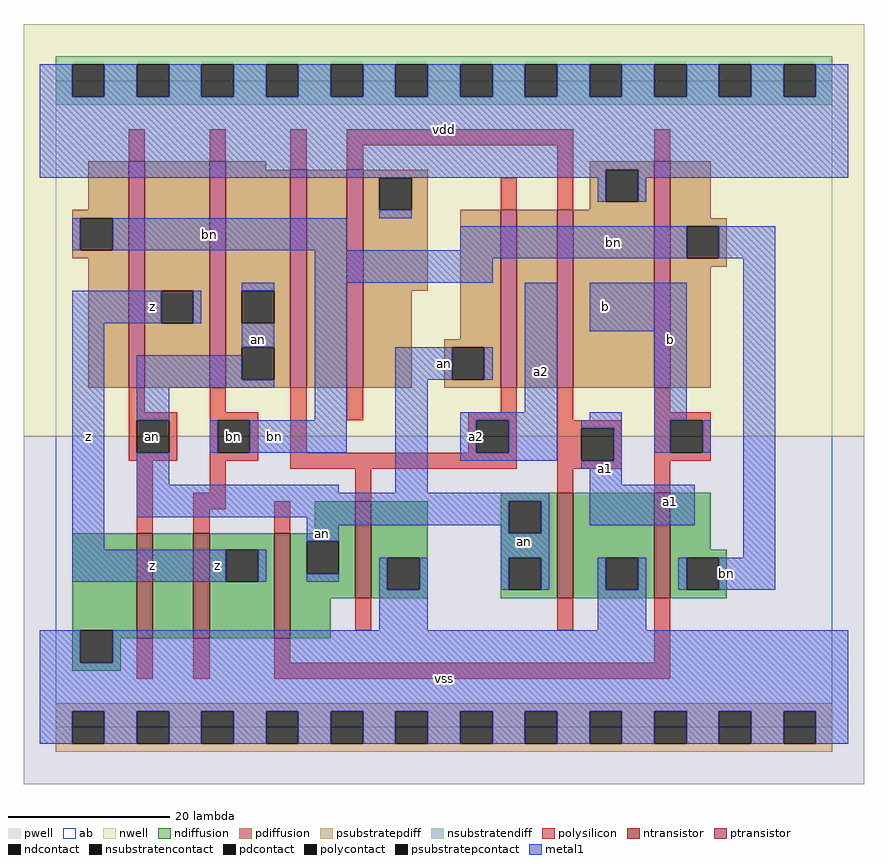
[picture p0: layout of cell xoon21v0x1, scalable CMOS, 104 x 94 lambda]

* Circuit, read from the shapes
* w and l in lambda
.subckt xoon21v0x1 a1 a2 an b bn vdd vss z
M1 n1 an vss vss nfet w=13 l=2
M2 z bn n1 vss nfet w=13 l=2
M3 an b z vss nfet w=13 l=2
M4 vss a2 an vss nfet w=12 l=2
M5 vss a1 an vss nfet w=13 l=2
M6 bn b vss vss nfet w=13 l=2
M7 z an bn vdd pfet w=28 l=2
M8 an bn z vdd pfet w=28 l=2
M9 n2 a2 an vdd pfet w=27 l=2
M10 vdd a1 n2 vdd pfet w=27 l=2
M11 n3 a2 an vdd pfet w=22 l=2
M12 vdd a1 n3 vdd pfet w=22 l=2
M13 bn b vdd vdd pfet w=28 l=2
.ends

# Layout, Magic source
magic
tech scmos
<< ab >>
rect 0 0 96 80
<< pwell >>
rect -4 -7 100 36
<< nwell >>
rect -4 36 100 87
<< polysilicon >>
rect 9 70 11 74
rect 19 70 21 74
rect 29 69 31 74
rect 36 72 64 74
rect 36 69 38 72
rect 55 64 57 68
rect 62 64 64 72
rect 74 70 76 74
rect 9 39 11 42
rect 19 39 21 42
rect 9 38 15 39
rect 9 34 10 38
rect 14 34 15 38
rect 9 33 15 34
rect 19 38 25 39
rect 19 34 20 38
rect 24 34 25 38
rect 19 33 25 34
rect 29 34 31 42
rect 36 38 38 42
rect 55 39 57 42
rect 51 38 57 39
rect 51 34 52 38
rect 56 34 57 38
rect 10 24 12 33
rect 19 29 21 33
rect 29 32 57 34
rect 62 38 64 42
rect 74 39 76 42
rect 74 38 81 39
rect 62 37 70 38
rect 62 33 65 37
rect 69 33 70 37
rect 62 32 70 33
rect 74 34 76 38
rect 80 34 81 38
rect 74 33 81 34
rect 17 27 21 29
rect 37 28 39 32
rect 62 29 64 32
rect 74 29 76 33
rect 17 24 19 27
rect 27 24 29 28
rect 37 12 39 16
rect 62 12 64 16
rect 10 6 12 11
rect 17 6 19 11
rect 27 8 29 11
rect 74 8 76 16
rect 27 6 76 8
<< ndiffusion >>
rect 55 28 62 29
rect 32 24 37 28
rect 2 12 10 24
rect 2 8 3 12
rect 7 11 10 12
rect 12 11 17 24
rect 19 22 27 24
rect 19 18 21 22
rect 25 18 27 22
rect 19 11 27 18
rect 29 23 37 24
rect 29 19 31 23
rect 35 19 37 23
rect 29 16 37 19
rect 39 21 46 28
rect 39 17 41 21
rect 45 17 46 21
rect 39 16 46 17
rect 55 24 56 28
rect 60 24 62 28
rect 55 21 62 24
rect 55 17 56 21
rect 60 17 62 21
rect 55 16 62 17
rect 64 21 74 29
rect 64 17 68 21
rect 72 17 74 21
rect 64 16 74 17
rect 76 22 81 29
rect 76 21 83 22
rect 76 17 78 21
rect 82 17 83 21
rect 76 16 83 17
rect 29 11 34 16
rect 7 8 8 11
rect 2 7 8 8
<< pdiffusion >>
rect 4 64 9 70
rect 2 63 9 64
rect 2 59 3 63
rect 7 59 9 63
rect 2 58 9 59
rect 4 42 9 58
rect 11 54 19 70
rect 11 50 13 54
rect 17 50 19 54
rect 11 42 19 50
rect 21 69 26 70
rect 21 54 29 69
rect 21 50 23 54
rect 27 50 29 54
rect 21 47 29 50
rect 21 43 23 47
rect 27 43 29 47
rect 21 42 29 43
rect 31 42 36 69
rect 38 68 46 69
rect 38 64 40 68
rect 44 64 46 68
rect 66 69 74 70
rect 66 65 68 69
rect 72 65 74 69
rect 66 64 74 65
rect 38 54 46 64
rect 38 42 44 54
rect 50 48 55 64
rect 48 47 55 48
rect 48 43 49 47
rect 53 43 55 47
rect 48 42 55 43
rect 57 42 62 64
rect 64 42 74 64
rect 76 63 81 70
rect 76 62 83 63
rect 76 58 78 62
rect 82 58 83 62
rect 76 57 83 58
rect 76 42 81 57
<< metal1 >>
rect -2 78 2 82
rect 6 78 10 82
rect 14 78 18 82
rect 22 78 26 82
rect 30 78 34 82
rect 38 78 42 82
rect 46 78 50 82
rect 54 78 58 82
rect 62 78 66 82
rect 70 78 74 82
rect 78 78 82 82
rect 86 78 90 82
rect 94 78 98 82
rect -2 69 98 78
rect -2 68 68 69
rect 67 65 68 68
rect 72 68 98 69
rect 72 65 73 68
rect 40 63 44 64
rect 2 59 3 63
rect 7 59 36 63
rect 50 59 78 62
rect 32 58 78 59
rect 82 58 89 62
rect 32 55 54 58
rect 23 54 27 55
rect 2 50 13 54
rect 17 50 18 54
rect 2 22 6 50
rect 23 47 27 50
rect 10 43 23 46
rect 10 42 27 43
rect 10 38 14 42
rect 32 38 36 55
rect 19 34 20 38
rect 24 34 36 38
rect 42 43 49 47
rect 53 43 54 47
rect 10 30 14 34
rect 10 29 35 30
rect 42 29 46 43
rect 58 39 62 55
rect 66 49 78 55
rect 50 38 62 39
rect 66 38 70 39
rect 50 34 52 38
rect 56 34 62 38
rect 50 33 62 34
rect 65 37 70 38
rect 69 33 70 37
rect 74 38 78 49
rect 74 34 76 38
rect 80 34 81 38
rect 65 32 70 33
rect 66 30 70 32
rect 10 28 61 29
rect 10 26 56 28
rect 31 25 56 26
rect 31 23 35 25
rect 2 18 21 22
rect 25 18 26 22
rect 55 24 56 25
rect 60 24 61 28
rect 66 25 79 30
rect 55 21 61 24
rect 85 21 89 58
rect 31 18 35 19
rect 40 17 41 21
rect 45 17 46 21
rect 55 17 56 21
rect 60 17 61 21
rect 67 17 68 21
rect 72 17 73 21
rect 77 17 78 21
rect 82 17 89 21
rect 40 12 46 17
rect 67 12 73 17
rect -2 8 3 12
rect 7 8 98 12
rect -2 2 98 8
rect -2 -2 2 2
rect 6 -2 10 2
rect 14 -2 18 2
rect 22 -2 26 2
rect 30 -2 34 2
rect 38 -2 42 2
rect 46 -2 50 2
rect 54 -2 58 2
rect 62 -2 66 2
rect 70 -2 74 2
rect 78 -2 82 2
rect 86 -2 90 2
rect 94 -2 98 2
<< ntransistor >>
rect 10 11 12 24
rect 17 11 19 24
rect 27 11 29 24
rect 37 16 39 28
rect 62 16 64 29
rect 74 16 76 29
<< ptransistor >>
rect 9 42 11 70
rect 19 42 21 70
rect 29 42 31 69
rect 36 42 38 69
rect 55 42 57 64
rect 62 42 64 64
rect 74 42 76 70
<< polycontact >>
rect 10 34 14 38
rect 20 34 24 38
rect 52 34 56 38
rect 65 33 69 37
rect 76 34 80 38
<< ndcontact >>
rect 3 8 7 12
rect 21 18 25 22
rect 31 19 35 23
rect 41 17 45 21
rect 56 24 60 28
rect 56 17 60 21
rect 68 17 72 21
rect 78 17 82 21
<< pdcontact >>
rect 3 59 7 63
rect 13 50 17 54
rect 23 50 27 54
rect 23 43 27 47
rect 40 64 44 68
rect 68 65 72 69
rect 49 43 53 47
rect 78 58 82 62
<< psubstratepcontact >>
rect 2 -2 6 2
rect 10 -2 14 2
rect 18 -2 22 2
rect 26 -2 30 2
rect 34 -2 38 2
rect 42 -2 46 2
rect 50 -2 54 2
rect 58 -2 62 2
rect 66 -2 70 2
rect 74 -2 78 2
rect 82 -2 86 2
rect 90 -2 94 2
<< nsubstratencontact >>
rect 2 78 6 82
rect 10 78 14 82
rect 18 78 22 82
rect 26 78 30 82
rect 34 78 38 82
rect 42 78 46 82
rect 50 78 54 82
rect 58 78 62 82
rect 66 78 70 82
rect 74 78 78 82
rect 82 78 86 82
rect 90 78 94 82
<< psubstratepdiff >>
rect 0 2 96 3
rect 0 -2 2 2
rect 6 -2 10 2
rect 14 -2 18 2
rect 22 -2 26 2
rect 30 -2 34 2
rect 38 -2 42 2
rect 46 -2 50 2
rect 54 -2 58 2
rect 62 -2 66 2
rect 70 -2 74 2
rect 78 -2 82 2
rect 86 -2 90 2
rect 94 -2 96 2
rect 0 -3 96 -2
<< nsubstratendiff >>
rect 0 82 96 83
rect 0 78 2 82
rect 6 78 10 82
rect 14 78 18 82
rect 22 78 26 82
rect 30 78 34 82
rect 38 78 42 82
rect 46 78 50 82
rect 54 78 58 82
rect 62 78 66 82
rect 70 78 74 82
rect 78 78 82 82
rect 86 78 90 82
rect 94 78 96 82
rect 0 77 96 78
<< labels >>
rlabel polycontact 22 36 22 36 6 bn
rlabel polycontact 12 36 12 36 6 an
rlabel metal1 12 20 12 20 6 z
rlabel polycontact 12 36 12 36 6 an
rlabel metal1 4 36 4 36 6 z
rlabel metal1 12 52 12 52 6 z
rlabel metal1 20 20 20 20 6 z
rlabel metal1 33 24 33 24 6 an
rlabel metal1 27 36 27 36 6 bn
rlabel metal1 25 48 25 48 6 an
rlabel metal1 19 61 19 61 6 bn
rlabel metal1 48 6 48 6 6 vss
rlabel metal1 48 45 48 45 6 an
rlabel metal1 52 36 52 36 6 a2
rlabel metal1 48 74 48 74 6 vdd
rlabel metal1 58 23 58 23 6 an
rlabel metal1 76 28 76 28 6 a1
rlabel metal1 68 32 68 32 6 a1
rlabel metal1 60 44 60 44 6 a2
rlabel metal1 68 52 68 52 6 b
rlabel metal1 76 48 76 48 6 b
rlabel metal1 83 19 83 19 6 bn
rlabel metal1 69 60 69 60 6 bn
<< end >>
